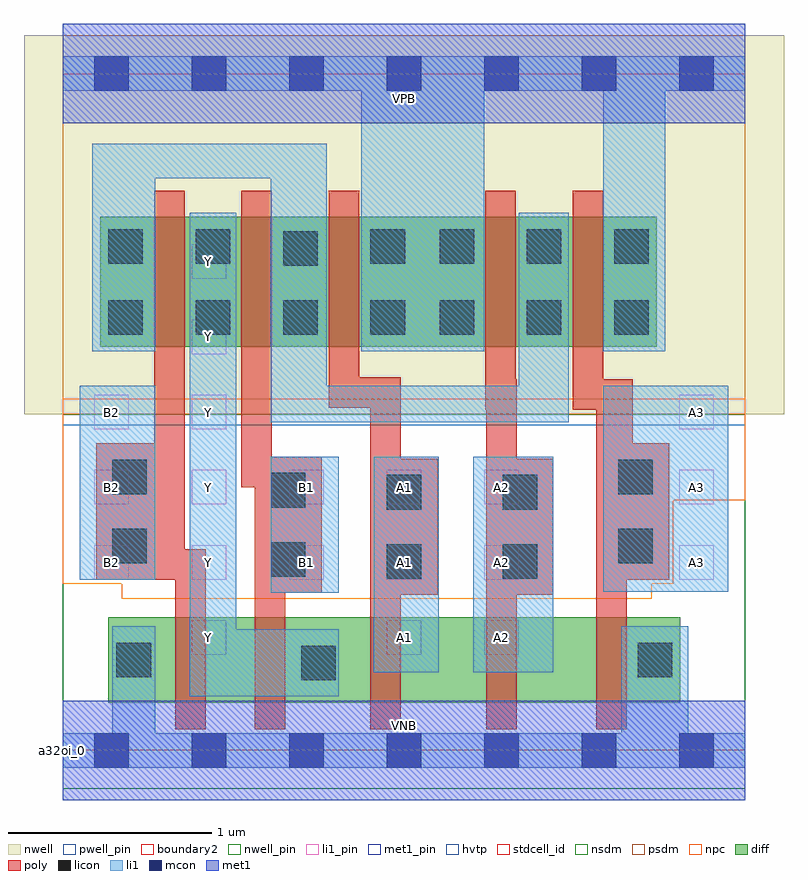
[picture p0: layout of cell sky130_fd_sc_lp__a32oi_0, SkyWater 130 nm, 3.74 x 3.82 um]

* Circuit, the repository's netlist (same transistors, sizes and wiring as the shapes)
* Copyright 2020 The SkyWater PDK Authors
*
* Licensed under the Apache License, Version 2.0 (the "License");
* you may not use this file except in compliance with the License.
* You may obtain a copy of the License at
*
*     https://www.apache.org/licenses/LICENSE-2.0
*
* Unless required by applicable law or agreed to in writing, software
* distributed under the License is distributed on an "AS IS" BASIS,
* WITHOUT WARRANTIES OR CONDITIONS OF ANY KIND, either express or implied.
* See the License for the specific language governing permissions and
* limitations under the License.
*
* SPDX-License-Identifier: Apache-2.0

.SUBCKT sky130_fd_sc_lp__a32oi_0 A1 A2 A3 B1 B2 VGND VNB VPB VPWR Y
*.PININFO A1:I A2:I A3:I B1:I B2:I VGND:I VNB:I VPB:I VPWR:I Y:O
MMPA0 pndA A1 VPWR VPB sky130_fd_pr__pfet_01v8_hvt m=1 w=0.64U l=0.15U mult=1 sa=0.265
+ sb=0.265 sd=0.28 area=0.063 perim=1.14
MMPA1 pndA A2 VPWR VPB sky130_fd_pr__pfet_01v8_hvt m=1 w=0.64U l=0.15U mult=1 sa=0.265
+ sb=0.265 sd=0.28 area=0.063 perim=1.14
MMPA2 pndA A3 VPWR VPB sky130_fd_pr__pfet_01v8_hvt m=1 w=0.64U l=0.15U mult=1 sa=0.265
+ sb=0.265 sd=0.28 area=0.063 perim=1.14
MMPB0 Y B1 pndA VPB sky130_fd_pr__pfet_01v8_hvt m=1 w=0.64U l=0.15U mult=1 sa=0.265
+ sb=0.265 sd=0.28 area=0.063 perim=1.14
MMPB1 Y B2 pndA VPB sky130_fd_pr__pfet_01v8_hvt m=1 w=0.64U l=0.15U mult=1 sa=0.265
+ sb=0.265 sd=0.28 area=0.063 perim=1.14
MMNA0 Y A1 sndA1 VNB sky130_fd_pr__nfet_01v8 m=1 w=0.42U l=0.15U mult=1 sa=0.265
+ sb=0.265 sd=0.28 area=0.063 perim=1.14
MMNA1 sndA1 A2 sndA2 VNB sky130_fd_pr__nfet_01v8 m=1 w=0.42U l=0.15U mult=1 sa=0.265
+ sb=0.265 sd=0.28 area=0.063 perim=1.14
MMNA2 sndA2 A3 VGND VNB sky130_fd_pr__nfet_01v8 m=1 w=0.42U l=0.15U mult=1 sa=0.265
+ sb=0.265 sd=0.28 area=0.063 perim=1.14
MMNB0 Y B1 sndB1 VNB sky130_fd_pr__nfet_01v8 m=1 w=0.42U l=0.15U mult=1 sa=0.265
+ sb=0.265 sd=0.28 area=0.063 perim=1.14
MMNB1 sndB1 B2 VGND VNB sky130_fd_pr__nfet_01v8 m=1 w=0.42U l=0.15U mult=1 sa=0.265
+ sb=0.265 sd=0.28 area=0.063 perim=1.14
.ENDS sky130_fd_sc_lp__a32oi_0

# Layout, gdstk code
import gdstk
lib = gdstk.Library(unit=1e-6, precision=1e-09)
def R(c, l, rs):  # rectangles x0, y0, x1, y1
    for r in rs: c.add(gdstk.rectangle(r[:2], r[2:], *l))
def A(c, l, x, y, w, h, nx, ny, dx, dy):  # array of equal rectangles
    R(c, l, [(x+i*dx, y+j*dy, x+i*dx+w, y+j*dy+h) for i in range(nx) for j in range(ny)])
def P(c, l, *ps):  # polygons
    for p in ps: c.add(gdstk.Polygon(p, *l))
nwell_pin = (64, 16)
nwell = (64, 20)
diff = (65, 20)
poly = (66, 20)
licon = (66, 44)
li1_pin = (67, 16)
li1 = (67, 20)
mcon = (67, 44)
met1_pin = (68, 16)
met1 = (68, 20)
hvtp = (78, 44)
stdcell_id = (81, 4)
nsdm = (93, 44)
psdm = (94, 20)
npc = (95, 20)
pwell_pin = (122, 16)
boundary2 = (236, 0)

sky130_fd_sc_lp__a32oi_0 = lib.new_cell('sky130_fd_sc_lp__a32oi_0')
R(sky130_fd_sc_lp__a32oi_0, nwell_pin, [(0,3.085,3.36,3.33)])
R(sky130_fd_sc_lp__a32oi_0, nwell, [(-0.19,1.655,3.55,3.52)])
R(sky130_fd_sc_lp__a32oi_0, diff, [(0.225,0.235,3.04,0.655), (0.185,1.985,2.925,2.625)])
P(sky130_fd_sc_lp__a32oi_0, poly, [(0.705,0.99),(0.6,0.99),(0.6,2.755),(0.45,2.755),(0.45,1.51),(0.165,1.51),(0.165,0.84),(0.555,0.84),(0.555,0.105),(0.705,0.105)],
  [(1.275,1.445),(1.03,1.445),(1.03,2.755),(0.88,2.755),(0.88,1.295),(0.945,1.295),(0.945,0.105),(1.095,0.105),(1.095,0.775),(1.275,0.775)],
  [(1.845,1.435),(1.665,1.435),(1.665,1.835),(1.46,1.835),(1.46,2.755),(1.31,2.755),(1.31,1.685),(1.515,1.685),(1.515,0.105),(1.665,0.105),(1.665,0.765),(1.845,0.765)],
  [(2.415,1.435),(2.235,1.435),(2.235,1.825),(2.23,1.825),(2.23,2.755),(2.08,2.755),(2.08,1.675),(2.085,1.675),(2.085,0.105),(2.235,0.105),(2.235,0.765),(2.415,0.765)],
  [(2.985,1.51),(2.805,1.51),(2.805,1.825),(2.66,1.825),(2.66,2.755),(2.51,2.755),(2.51,1.675),(2.625,1.675),(2.625,0.105),(2.775,0.105),(2.775,0.84),(2.985,0.84)])
A(sky130_fd_sc_lp__a32oi_0, licon, 0.225, 2.045, 0.17, 0.17, 4, 1, 0.43, 0)
A(sky130_fd_sc_lp__a32oi_0, licon, 1.855, 2.045, 0.17, 0.17, 3, 2, 0.43, 0.35)
R(sky130_fd_sc_lp__a32oi_0, licon, [(1.175,0.345,1.345,0.515), (0.265,0.36,0.435,0.53), (2.83,0.36,3,0.53), (1.595,0.845,1.765,1.015), (2.165,0.845,2.335,1.015), (1.025,0.855,1.195,1.025), (0.245,0.92,0.415,1.09), (2.735,0.92,2.905,1.09), (1.595,1.185,1.765,1.355), (2.165,1.185,2.335,1.355), (1.025,1.195,1.195,1.365), (0.245,1.26,0.415,1.43), (2.735,1.26,2.905,1.43), (1.085,2.385,1.255,2.555), (0.225,2.395,0.395,2.565), (0.655,2.395,0.825,2.565), (1.515,2.395,1.685,2.565)])
A(sky130_fd_sc_lp__a32oi_0, li1_pin, 0.155, 0.84, 0.17, 0.17, 5, 2, 0.48, 0.37)
A(sky130_fd_sc_lp__a32oi_0, li1_pin, 3.035, 0.84, 0.17, 0.17, 1, 3, 0, 0.37)
A(sky130_fd_sc_lp__a32oi_0, li1_pin, 0.635, 1.58, 0.17, 0.17, 1, 3, 0, 0.37)
R(sky130_fd_sc_lp__a32oi_0, li1_pin, [(0.635,0.47,0.805,0.64), (1.595,0.47,1.765,0.64), (2.075,0.47,2.245,0.64), (0.155,1.58,0.325,1.75)])
R(sky130_fd_sc_lp__a32oi_0, li1, [(1.53,0.385,1.85,1.445), (2.02,0.385,2.415,1.445), (1.025,0.775,1.36,1.445), (2.66,0.78,3.275,1.795), (0.085,0.84,0.455,1.795)])
P(sky130_fd_sc_lp__a32oi_0, li1, [(3.36,3.415),(0,3.415),(0,3.245),(1.47,3.245),(1.47,1.965),(2.075,1.965),(2.075,3.245),(2.66,3.245),(2.66,1.965),(2.965,1.965),(2.965,3.245),(3.36,3.245)],
  [(2.49,2.645),(2.245,2.645),(2.245,1.795),(1.3,1.795),(1.3,2.985),(0.145,2.985),(0.145,1.965),(0.455,1.965),(0.455,2.815),(1.025,2.815),(1.025,1.615),(2.49,1.615)],
  [(3.36,0.085),(3.08,0.085),(3.08,0.61),(2.75,0.61),(2.75,0.085),(0.455,0.085),(0.455,0.61),(0.245,0.61),(0.245,0.085),(0,0.085),(0,-0.085),(3.36,-0.085)],
  [(1.36,0.595),(0.855,0.595),(0.855,2.645),(0.625,2.645),(0.625,0.265),(1.36,0.265)])
A(sky130_fd_sc_lp__a32oi_0, mcon, 0.155, -0.085, 0.17, 0.17, 7, 2, 0.48, 3.33)
R(sky130_fd_sc_lp__a32oi_0, met1_pin, [(0,0,3.36,0.245), (0,3.085,3.36,3.33)])
R(sky130_fd_sc_lp__a32oi_0, met1, [(0,-0.245,3.36,0.245), (0,3.085,3.36,3.575)])
R(sky130_fd_sc_lp__a32oi_0, hvtp, [(0,1.6,3.36,3.33)])
R(sky130_fd_sc_lp__a32oi_0, stdcell_id, [(0,0,3.36,3.33)])
R(sky130_fd_sc_lp__a32oi_0, nsdm, [(0,-0.19,3.36,1.655)])
R(sky130_fd_sc_lp__a32oi_0, psdm, [(0,1.655,3.36,3.52)])
P(sky130_fd_sc_lp__a32oi_0, npc, [(3.36,1.73),(0,1.73),(0,0.82),(0.29,0.82),(0.29,0.745),(2.9,0.745),(2.9,0.82),(3.005,0.82),(3.005,1.23),(3.36,1.23)])
R(sky130_fd_sc_lp__a32oi_0, pwell_pin, [(0,0,3.36,0.245)])
R(sky130_fd_sc_lp__a32oi_0, boundary2, [(0,0,3.36,3.33)])
sky130_fd_sc_lp__a32oi_0.add(gdstk.Label('VNB', (1.68,0.123), layer=64, texttype=59))
sky130_fd_sc_lp__a32oi_0.add(gdstk.Label('VPB', (1.68,3.208), layer=64, texttype=5))
sky130_fd_sc_lp__a32oi_0.add(gdstk.Label('a32oi_0', (0,0), layer=83, texttype=44))
sky130_fd_sc_lp__a32oi_0.add(gdstk.Label('VPWR', (1.68,3.208), layer=68, texttype=5))
sky130_fd_sc_lp__a32oi_0.add(gdstk.Label('VGND', (1.68,0.123), layer=68, texttype=5))
sky130_fd_sc_lp__a32oi_0.add(gdstk.Label('A1', (1.68,0.555), layer=67, texttype=5))
sky130_fd_sc_lp__a32oi_0.add(gdstk.Label('A1', (1.68,0.925), layer=67, texttype=5))
sky130_fd_sc_lp__a32oi_0.add(gdstk.Label('A1', (1.68,1.295), layer=67, texttype=5))
sky130_fd_sc_lp__a32oi_0.add(gdstk.Label('A2', (2.16,0.555), layer=67, texttype=5))
sky130_fd_sc_lp__a32oi_0.add(gdstk.Label('A2', (2.16,0.925), layer=67, texttype=5))
sky130_fd_sc_lp__a32oi_0.add(gdstk.Label('A2', (2.16,1.295), layer=67, texttype=5))
sky130_fd_sc_lp__a32oi_0.add(gdstk.Label('A3', (3.12,0.925), layer=67, texttype=5))
sky130_fd_sc_lp__a32oi_0.add(gdstk.Label('A3', (3.12,1.295), layer=67, texttype=5))
sky130_fd_sc_lp__a32oi_0.add(gdstk.Label('A3', (3.12,1.665), layer=67, texttype=5))
sky130_fd_sc_lp__a32oi_0.add(gdstk.Label('B1', (1.2,0.925), layer=67, texttype=5))
sky130_fd_sc_lp__a32oi_0.add(gdstk.Label('B1', (1.2,1.295), layer=67, texttype=5))
sky130_fd_sc_lp__a32oi_0.add(gdstk.Label('B2', (0.24,0.925), layer=67, texttype=5))
sky130_fd_sc_lp__a32oi_0.add(gdstk.Label('B2', (0.24,1.295), layer=67, texttype=5))
sky130_fd_sc_lp__a32oi_0.add(gdstk.Label('B2', (0.24,1.665), layer=67, texttype=5))
sky130_fd_sc_lp__a32oi_0.add(gdstk.Label('Y', (0.72,0.555), layer=67, texttype=5))
sky130_fd_sc_lp__a32oi_0.add(gdstk.Label('Y', (0.72,0.925), layer=67, texttype=5))
sky130_fd_sc_lp__a32oi_0.add(gdstk.Label('Y', (0.72,1.295), layer=67, texttype=5))
sky130_fd_sc_lp__a32oi_0.add(gdstk.Label('Y', (0.72,1.665), layer=67, texttype=5))
sky130_fd_sc_lp__a32oi_0.add(gdstk.Label('Y', (0.72,2.035), layer=67, texttype=5))
sky130_fd_sc_lp__a32oi_0.add(gdstk.Label('Y', (0.72,2.405), layer=67, texttype=5))

lib.write_gds('sky130_fd_sc_lp__a32oi_0.gds')
